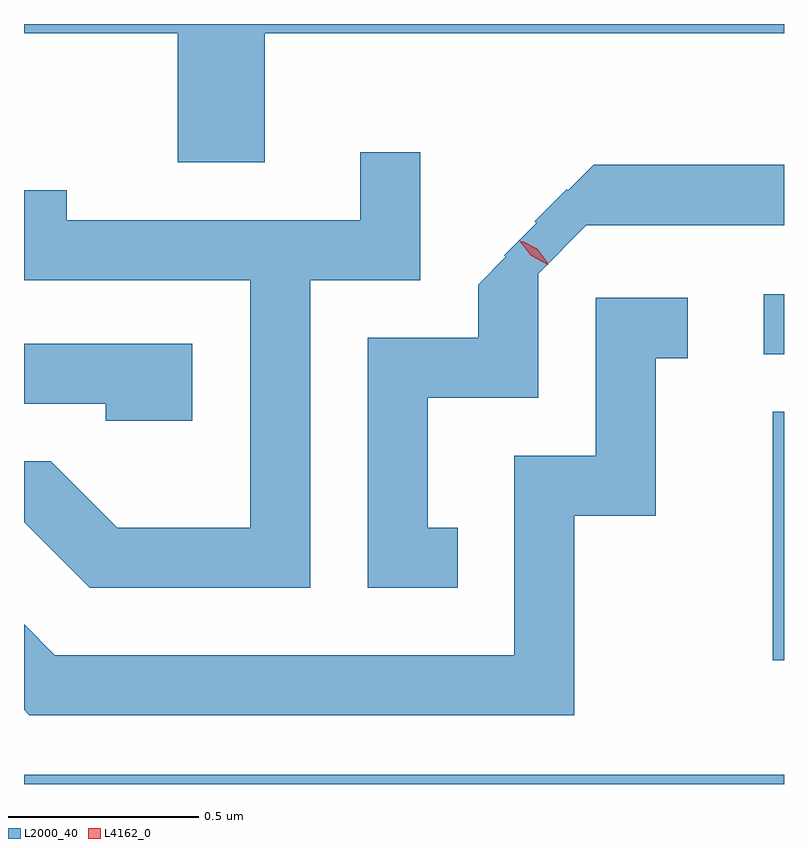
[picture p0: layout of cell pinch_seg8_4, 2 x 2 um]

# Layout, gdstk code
import gdstk
lib = gdstk.Library(unit=1e-6, precision=1e-09)
def R(c, l, rs):  # rectangles x0, y0, x1, y1
    for r in rs: c.add(gdstk.rectangle(r[:2], r[2:], *l))
def P(c, l, *ps):  # polygons
    for p in ps: c.add(gdstk.Polygon(p, *l))
L2000_40 = (2000, 40)
L4162_0 = (4162, 0)

pinch_seg8_4 = lib.new_cell('pinch_seg8_4')
R(pinch_seg8_4, L2000_40, [(1116.096,1832.22,1118.096,1832.244), (1118.066,1832.546,1118.096,1833.199), (1118.043,1833.351,1118.096,1833.509)])
P(pinch_seg8_4, L2000_40, [(1116.729,1834.196),(1118.096,1834.196),(1118.096,1834.22),(1116.096,1834.22),(1116.096,1834.196),(1116.501,1834.196),(1116.501,1833.856),(1116.729,1833.856)],
  [(1116.849,1833.546),(1117.139,1833.546),(1117.139,1833.883),(1116.981,1833.883),(1116.981,1833.704),(1116.209,1833.704),(1116.209,1833.783),(1116.096,1833.783),(1116.096,1833.546),(1116.691,1833.546),(1116.691,1832.894),(1116.342,1832.894),(1116.167,1833.069),(1116.096,1833.069),(1116.096,1832.909),(1116.269,1832.736),(1116.849,1832.736)],
  [(1117.238,1832.894),(1117.159,1832.894),(1117.159,1833.236),(1117.449,1833.236),(1117.449,1833.563),(1117.576,1833.69),(1117.675,1833.69),(1117.675,1833.691),(1118.096,1833.691),(1118.096,1833.849),(1117.595,1833.849),(1117.528,1833.782),(1117.524,1833.785),(1117.44,1833.701),(1117.444,1833.696),(1117.36,1833.611),(1117.364,1833.607),(1117.291,1833.534),(1117.291,1833.394),(1117.001,1833.394),(1117.001,1832.736),(1117.238,1832.736)],
  [(1117.544,1832.926),(1117.759,1832.926),(1117.759,1833.341),(1117.843,1833.341),(1117.843,1833.499),(1117.601,1833.499),(1117.601,1833.084),(1117.386,1833.084),(1117.386,1832.559),(1116.177,1832.559),(1116.096,1832.64),(1116.096,1832.415),(1116.11,1832.401),(1117.544,1832.401)],
  [(1116.539,1833.379),(1116.096,1833.379),(1116.096,1833.221),(1116.311,1833.221),(1116.311,1833.176),(1116.539,1833.176)])
P(pinch_seg8_4, L4162_0, [(1117.474,1833.586),(1117.431,1833.61),(1117.4,1833.648),(1117.4,1833.649),(1117.401,1833.649),(1117.444,1833.625),(1117.475,1833.587),(1117.475,1833.586)],
  [(1117.472,1833.592),(1117.434,1833.612),(1117.407,1833.647),(1117.407,1833.648),(1117.408,1833.648),(1117.446,1833.628),(1117.473,1833.593),(1117.473,1833.592)])

lib.write_gds('pinch_seg8_4.gds')
